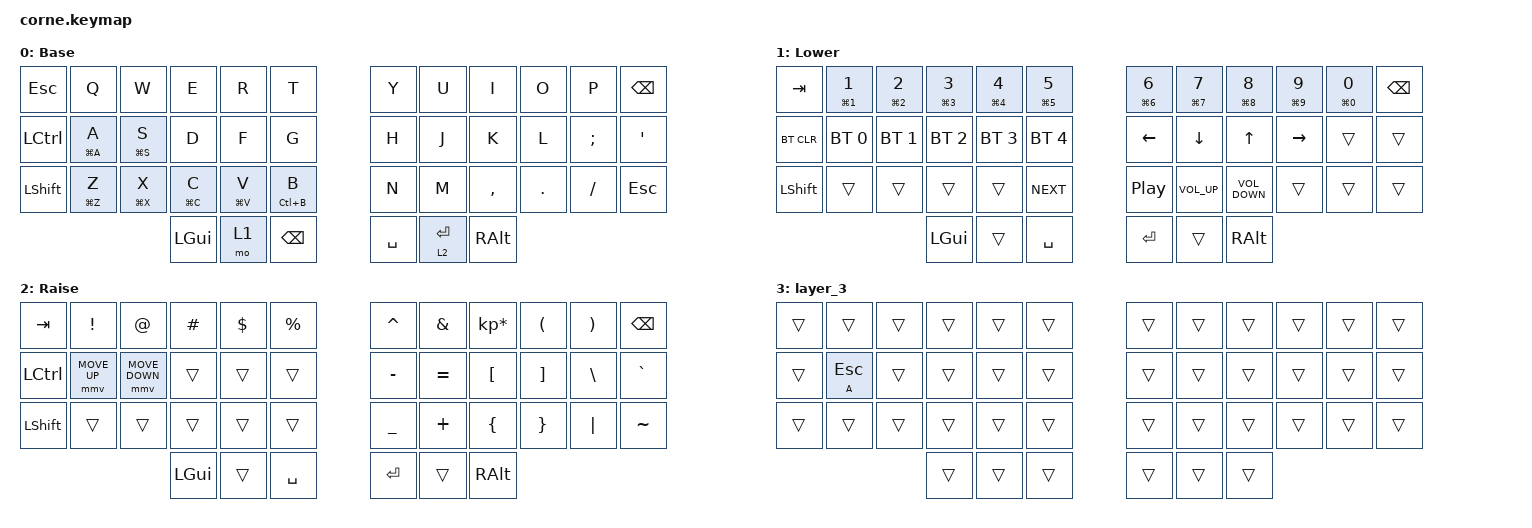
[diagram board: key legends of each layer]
/*
 * Copyright (c) 2020 The ZMK Contributors
 *
 * SPDX-License-Identifier: MIT
 */

#include <behaviors.dtsi>
#include <dt-bindings/zmk/bt.h>
#include <dt-bindings/zmk/keys.h>

/ {
    combos {
        compatible = "zmk,combos";

        lk {
            bindings = <&kp ENTER>;
            key-positions = <20 21>;
        };

        po {
            bindings = <&kp BACKSPACE>;
            key-positions = <9 10>;
        };

        ds {
            bindings = <&kp TAB>;
            key-positions = <14 15>;
        };

        jk {
            bindings = <&kp ESCAPE>;
            key-positions = <19 20>;
        };
    };

    keymap {
        compatible = "zmk,keymap";

        default_layer {
            // -----------------------------------------------------------------------------------------
            // |  TAB |  Q  |  W  |  E  |  R  |  T  |   |  Y  |  U   |  I  |  O  |  P  | BKSP |
            // | CTRL |  A  |  S  |  D  |  F  |  G  |   |  H  |  J   |  K  |  L  |  ;  |  '   |
            // | SHFT |  Z  |  X  |  C  |  V  |  B  |   |  N  |  M   |  ,  |  .  |  /  | ESC  |
            //                    | GUI | LWR | SPC |   | ENT | RSE  | ALT |

            display-name = "Base";
            bindings = <
&kp ESCAPE  &kp Q        &kp W        &kp E        &kp R        &kp T            &kp Y      &kp U        &kp I      &kp O    &kp P     &kp BSPC
&kp LCTRL   &mt LG(A) A  &mt LG(S) S  &kp D        &kp F        &kp G            &kp H      &kp J        &kp K      &kp L    &kp SEMI  &kp SQT
&kp LSHFT   &mt LG(Z) Z  &mt LG(X) X  &mt LG(C) C  &mt LG(V) V  &mt LC(B) B      &kp N      &kp M        &kp COMMA  &kp DOT  &kp FSLH  &kp ESC
                                      &kp LGUI     &mo 1        &kp BACKSPACE    &kp SPACE  &lt 2 ENTER  &kp RALT
            >;
        };

        lower_layer {
            // -----------------------------------------------------------------------------------------
            // |  TAB |  1  |  2  |  3  |  4  |  5  |   |  6  |  7  |  8  |  9  |  0  | BKSP |
            // | BTCLR| BT1 | BT2 | BT3 | BT4 | BT5 |   | LFT | DWN |  UP | RGT |     |      |
            // | SHFT |     |     |     |     |     |   |     |     |     |     |     |      |
            //                    | GUI |     | SPC |   | ENT |     | ALT |

            display-name = "Lower";
            bindings = <
&kp TAB     &mt LG(N1) N1  &mt LG(N2) N2  &mt LG(N3) N3  &mt LG(N4) N4  &mt LG(N5) N5    &mt LG(N6) N6     &mt LG(N7) N7    &mt LG(N8) N8      &mt LG(N9) N9  &mt LG(N0) N0  &kp BSPC
&bt BT_CLR  &bt BT_SEL 0   &bt BT_SEL 1   &bt BT_SEL 2   &bt BT_SEL 3   &bt BT_SEL 4     &kp LEFT          &kp DOWN         &kp UP             &kp RIGHT      &trans         &trans
&kp LSHFT   &trans         &trans         &trans         &trans         &kp C_NEXT       &kp C_PLAY_PAUSE  &kp C_VOLUME_UP  &kp C_VOLUME_DOWN  &trans         &trans         &trans
                                          &kp LGUI       &trans         &kp SPACE        &kp RET           &trans           &kp RALT
            >;
        };

        raise_layer {
            // -----------------------------------------------------------------------------------------
            // |  TAB |  !  |  @  |  #  |  $  |  %  |   |  ^  |  &  |  *  |  (  |  )  | BKSP |
            // | CTRL |     |     |     |     |     |   |  -  |  =  |  [  |  ]  |  \  |  `   |
            // | SHFT |     |     |     |     |     |   |  _  |  +  |  {  |  }  | "|" |  ~   |
            //                    | GUI |     | SPC |   | ENT |     | ALT |

            display-name = "Raise";
            bindings = <
&kp TAB    &kp EXCL      &kp AT          &kp HASH  &kp DLLR  &kp PRCNT    &kp CARET  &kp AMPS   &kp KP_MULTIPLY  &kp LPAR  &kp RPAR  &kp BSPC
&kp LCTRL  &mmv MOVE_UP  &mmv MOVE_DOWN  &trans    &trans    &trans       &kp MINUS  &kp EQUAL  &kp LBKT         &kp RBKT  &kp BSLH  &kp GRAVE
&kp LSHFT  &trans        &trans          &trans    &trans    &trans       &kp UNDER  &kp PLUS   &kp LBRC         &kp RBRC  &kp PIPE  &kp TILDE
                                         &kp LGUI  &trans    &kp SPACE    &kp RET    &trans     &kp RALT
            >;
        };

        layer_3 {
            bindings = <
&trans  &trans        &trans  &trans  &trans  &trans    &trans  &trans  &trans  &trans  &trans  &trans
&trans  &mt A ESCAPE  &trans  &trans  &trans  &trans    &trans  &trans  &trans  &trans  &trans  &trans
&trans  &trans        &trans  &trans  &trans  &trans    &trans  &trans  &trans  &trans  &trans  &trans
                              &trans  &trans  &trans    &trans  &trans  &trans
            >;
        };
    };
};
